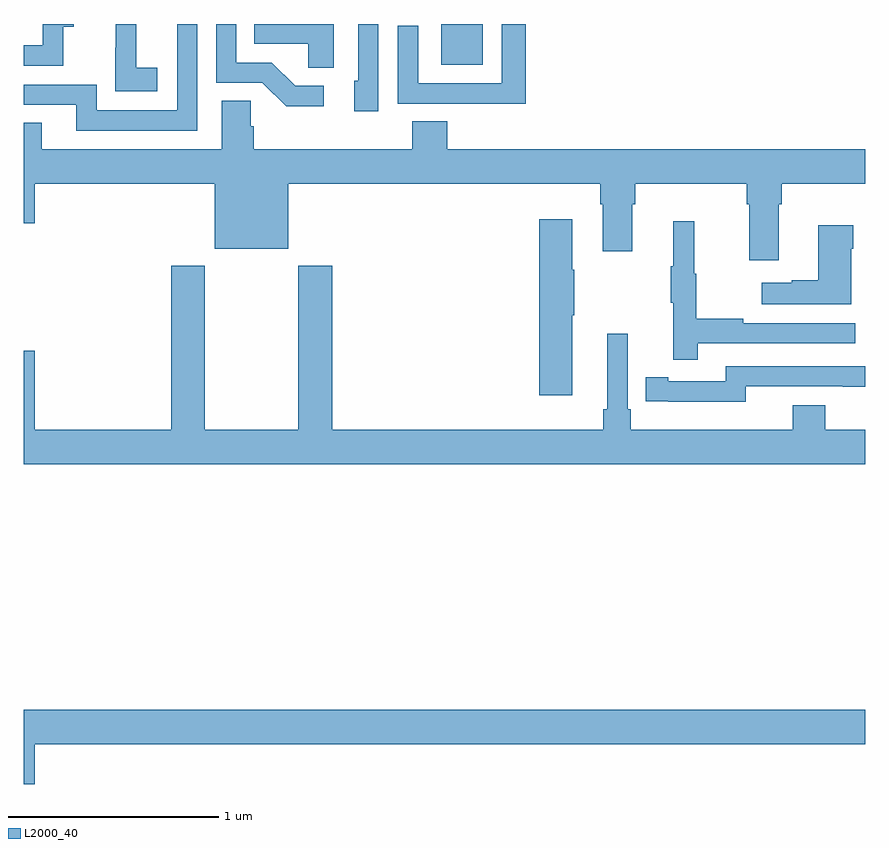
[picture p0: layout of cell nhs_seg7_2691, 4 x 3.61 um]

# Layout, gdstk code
import gdstk
lib = gdstk.Library(unit=1e-6, precision=1e-09)
def R(c, l, rs):  # rectangles x0, y0, x1, y1
    for r in rs: c.add(gdstk.rectangle(r[:2], r[2:], *l))
def P(c, l, *ps):  # polygons
    for p in ps: c.add(gdstk.Polygon(p, *l))
L2000_40 = (2000, 40)

nhs_seg7_2691 = lib.new_cell('nhs_seg7_2691')
R(nhs_seg7_2691, L2000_40, [(286.985,1043.807,287.182,1044)])
P(nhs_seg7_2691, L2000_40, [(285.634,1043.791),(285.536,1043.791),(285.536,1044),(285.437,1044),(285.437,1043.887),(285.436,1043.887),(285.436,1043.681),(285.634,1043.681)],
  [(286.686,1044),(286.59,1044),(286.59,1043.73),(286.571,1043.73),(286.571,1043.586),(286.686,1043.586)],
  [(285.825,1044),(285.729,1044),(285.729,1043.589),(285.348,1043.589),(285.348,1043.712),(285,1043.712),(285,1043.616),(285.251,1043.616),(285.251,1043.493),(285.825,1043.493)],
  [(285.189,1043.987),(285.238,1043.987),(285.238,1044),(285.09,1044),(285.09,1043.898),(285,1043.898),(285,1043.802),(285.189,1043.802)],
  [(286.474,1044),(286.096,1044),(286.096,1043.906),(286.353,1043.906),(286.353,1043.791),(286.474,1043.791)],
  [(287.387,1044),(287.271,1044),(287.271,1043.718),(286.875,1043.718),(286.875,1043.992),(286.779,1043.992),(286.779,1043.622),(287.095,1043.622),(287.095,1043.621),(287.387,1043.621)],
  [(286.426,1043.706),(286.291,1043.706),(286.18,1043.817),(286.011,1043.817),(286.011,1044),(285.915,1044),(285.915,1043.721),(286.134,1043.721),(286.247,1043.609),(286.426,1043.609)],
  [(288.589,1043.144),(288.602,1043.144),(288.602,1043.24),(289,1043.24),(289,1043.404),(287.012,1043.404),(287.012,1043.537),(286.847,1043.537),(286.847,1043.404),(286.094,1043.404),(286.094,1043.513),(286.08,1043.513),(286.08,1043.636),(285.941,1043.636),(285.941,1043.404),(285.085,1043.404),(285.085,1043.531),(285,1043.531),(285,1043.052),(285.052,1043.052),(285.052,1043.24),(285.908,1043.24),(285.908,1042.931),(286.258,1042.931),(286.258,1043.24),(287.741,1043.24),(287.741,1043.144),(287.753,1043.144),(287.753,1042.92),(287.893,1042.92),(287.893,1043.144),(287.906,1043.144),(287.906,1043.24),(288.437,1043.24),(288.437,1043.144),(288.449,1043.144),(288.449,1042.878),(288.589,1042.878)],
  [(287.608,1042.615),(287.616,1042.615),(287.616,1042.832),(287.608,1042.832),(287.608,1043.071),(287.45,1043.071),(287.45,1042.236),(287.608,1042.236)],
  [(288.203,1042.482),(288.952,1042.482),(288.952,1042.578),(288.419,1042.578),(288.419,1042.598),(288.196,1042.598),(288.196,1042.812),(288.188,1042.812),(288.188,1043.062),(288.086,1043.062),(288.086,1042.849),(288.075,1042.849),(288.075,1042.675),(288.086,1042.675),(288.086,1042.404),(288.203,1042.404)],
  [(288.934,1042.931),(288.942,1042.931),(288.942,1043.044),(288.776,1043.044),(288.776,1042.781),(288.65,1042.781),(288.65,1042.771),(288.507,1042.771),(288.507,1042.667),(288.934,1042.667)],
  [(289,1042.072),(288.809,1042.072),(288.809,1042.189),(288.656,1042.189),(288.656,1042.072),(287.885,1042.072),(287.885,1042.168),(287.871,1042.168),(287.871,1042.528),(287.774,1042.528),(287.774,1042.168),(287.755,1042.168),(287.755,1042.072),(286.466,1042.072),(286.466,1042.852),(286.306,1042.852),(286.306,1042.072),(285.861,1042.072),(285.861,1042.852),(285.701,1042.852),(285.701,1042.072),(285.052,1042.072),(285.052,1042.447),(285,1042.447),(285,1041.908),(289,1041.908)],
  [(288.432,1042.278),(288.892,1042.278),(288.892,1042.277),(289,1042.277),(289,1042.374),(288.336,1042.374),(288.336,1042.302),(288.064,1042.302),(288.064,1042.322),(287.956,1042.322),(287.956,1042.206),(288.064,1042.206),(288.064,1042.205),(288.432,1042.205)],
  [(285.052,1040.576),(289,1040.576),(289,1040.74),(285,1040.74),(285,1040.388),(285.052,1040.388)])

lib.write_gds('nhs_seg7_2691.gds')
